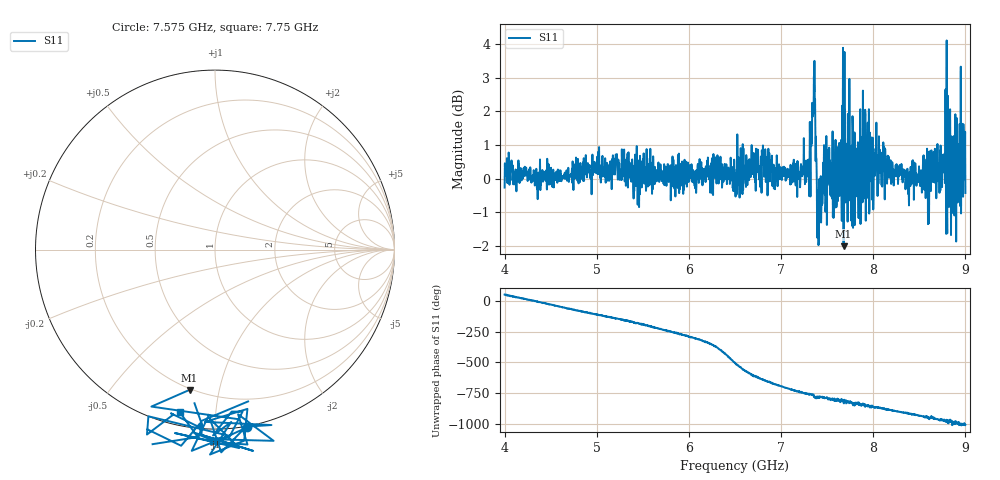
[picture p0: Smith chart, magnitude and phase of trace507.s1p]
! Created with skrf 1.8.0 (http://scikit-rf.org).
# Hz S RI R 50.0
!freq ReS11 ImS11
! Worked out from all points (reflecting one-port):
!   1601 points, 4 GHz to 9 GHz, reference 50 ohm
!   lowest |S11| = -2.0 dB at 7.678 GHz (marker M1), VSWR 8.71, Z = 9.66 - j40.8 ohm
!   phase of S11 starts at 50 deg and turns -1056 deg over the sweep
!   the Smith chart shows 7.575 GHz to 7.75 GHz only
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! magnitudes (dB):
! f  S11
! 4 GHz  -0.3
! 4.625 GHz  0.0
! 5.25 GHz  0.0
! 5.875 GHz  0.2
! 6.328 GHz  0.6
! 6.5 GHz  0.0
! 6.806 GHz  0.4
! 6.922 GHz  -0.3
! 7.125 GHz  0.3
! 7.294 GHz  0.1
! 7.347 GHz  1.9
! 7.362 GHz  3.5
! 7.397 GHz  -1.2
! 7.412 GHz  -1.0
! 7.469 GHz  0.4
! 7.578 GHz  0.2
! 7.678 GHz  -2.0
! 7.703 GHz  0.3
! 7.75 GHz  -0.6
! 7.775 GHz  1.9
! 7.891 GHz  -0.5
! 8.375 GHz  -0.1
! 8.566 GHz  0.2
! 8.603 GHz  -1.3
! 8.788 GHz  -0.1
! 8.869 GHz  -0.7
! 8.972 GHz  -0.1
! 9 GHz  -0.4
